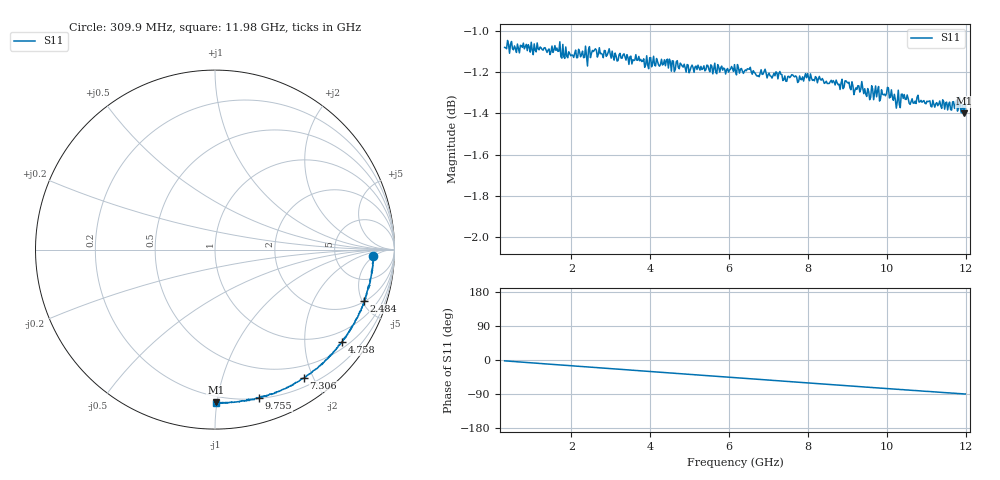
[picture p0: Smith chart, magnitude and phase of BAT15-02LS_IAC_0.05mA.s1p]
! Infineon Technologies  Discrete & RF Semiconductors
! BAT15-02ELS
! IAC = 0.05 mA
! One-Port S-Parameters
# Hz  S  MA  R  50
!f  S11
!Hz  Mag  Ang
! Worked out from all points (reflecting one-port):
!   468 points, 309.9 MHz to 11.98 GHz, reference 50 ohm
!   lowest |S11| = -1.4 dB at 11.95 GHz (marker M1), VSWR 12.45, Z = 8.01 - j49.6 ohm
!   phase of S11 starts at -2 deg and turns -87 deg over the sweep
!   S11 on the Smith chart (normalised r, x): 309.9 MHz: 15, -5; 2.484 GHz: 2.09, -5.19; 4.758 GHz: 0.66, -2.93; 7.306 GHz: 0.32, -1.86; 9.755 GHz: 0.20, -1.32; 11.98 GHz: 0.16, -0.99
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3.0985e8  0.8832 -2.2
7.59625e8  0.8832 -5.7
1.184412e9  0.882 -9.0
1.659175e9  0.8812 -12.7
1.784112e9  0.8847 -13.6
2.483762e9  0.8782 -18.9
3.233388e9  0.8803 -24.5
4.032988e9  0.8737 -30.7
4.70765e9  0.8734 -35.8
4.757625e9  0.8755 -36.2
5.582212e9  0.8702 -42.5
6.156925e9  0.8713 -46.8
6.856575e9  0.8701 -52.0
7.30635e9  0.87 -55.4
7.4063e9  0.8692 -56.2
7.6062e9  0.8697 -57.6
7.781112e9  0.8692 -59.0
7.956025e9  0.8683 -60.2
8.230888e9  0.8659 -62.4
9.080462e9  0.8625 -68.7
9.755125e9  0.8621 -73.6
1.005498e10  0.8586 -75.9
1.027986e10  0.8623 -77.3
1.04048e10  0.8583 -78.4
1.052974e10  0.8583 -79.3
1.145428e10  0.8532 -86.1
1.195402e10  0.8513 -89.8
1.197901e10  0.8557 -89.7
